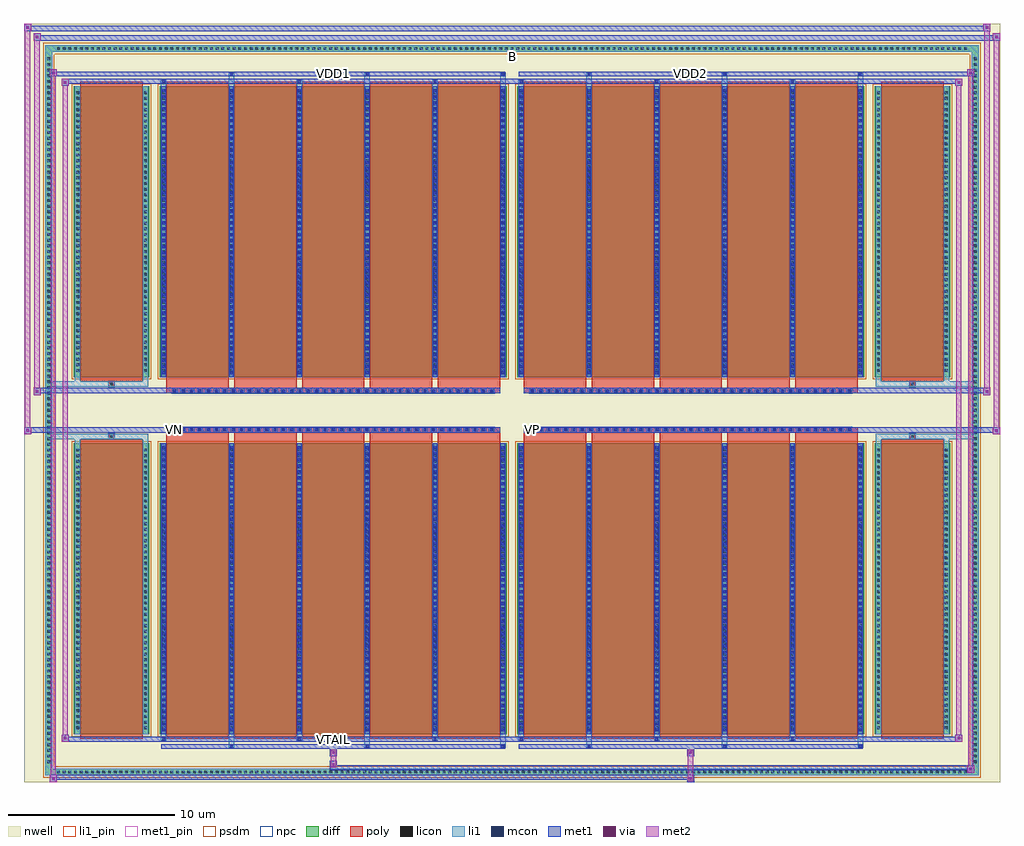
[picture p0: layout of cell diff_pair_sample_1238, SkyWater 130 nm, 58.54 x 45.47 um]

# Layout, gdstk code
import gdstk
lib = gdstk.Library(unit=1e-6, precision=5e-09)
def R(c, l, rs):  # rectangles x0, y0, x1, y1
    for r in rs: c.add(gdstk.rectangle(r[:2], r[2:], *l))
def A(c, l, x, y, w, h, nx, ny, dx, dy):  # array of equal rectangles
    R(c, l, [(x+i*dx, y+j*dy, x+i*dx+w, y+j*dy+h) for i in range(nx) for j in range(ny)])
def P(c, l, *ps):  # polygons
    for p in ps: c.add(gdstk.Polygon(p, *l))
nwell = (64, 20)
diff = (65, 20)
poly = (66, 20)
licon = (66, 44)
li1_pin = (67, 16)
li1 = (67, 20)
mcon = (67, 44)
met1_pin = (68, 16)
met1 = (68, 20)
via = (68, 44)
met2 = (69, 20)
psdm = (94, 20)
npc = (95, 20)

diff_pair_sample_1238 = lib.new_cell('diff_pair_sample_1238')
R(diff_pair_sample_1238, nwell, [(-29.27,-22.3,29.27,23.17), (-26.59,-20.49,-0.01,-0.805), (0.01,-20.49,26.59,-0.805), (-26.59,0.805,-0.01,20.49), (0.01,0.805,26.59,20.49)])
A(diff_pair_sample_1238, diff, -27.405, -21.9, 0.41, 0.41, 161, 2, 0.34, 43.39)
A(diff_pair_sample_1238, diff, -28, -21.285, 0.41, 0.41, 1, 125, 0, 0.34)
A(diff_pair_sample_1238, diff, 27.59, -21.285, 0.41, 0.41, 1, 125, 0, 0.34)
R(diff_pair_sample_1238, diff, [(-27.405,-21.9,27.405,-21.49), (-28,-21.285,-27.59,21.285), (27.59,-21.285,28,21.285), (-26.28,-19.445,-21.76,-1.985), (-21.12,-19.445,-0.32,-1.985), (0.32,-19.445,21.12,-1.985), (21.76,-19.445,26.28,-1.985), (-26.28,1.985,-21.76,19.445), (-21.12,1.985,-0.32,19.445), (0.32,1.985,21.12,19.445), (21.76,1.985,26.28,19.445), (-27.405,21.49,27.405,21.9)])
P(diff_pair_sample_1238, diff, [(28,21.9),(-28,21.9),(-28,-21.49),(-27.59,-21.49),(-27.59,21.49),(27.59,21.49),(27.59,-21.49),(-27.59,-21.49),(-28,-21.49),(-28,-21.9),(28,-21.9)])
A(diff_pair_sample_1238, poly, -20.73, -19.695, 3.74, 17.96, 5, 2, 4.07, 21.43)
A(diff_pair_sample_1238, poly, 0.71, -19.695, 3.74, 17.96, 5, 2, 4.07, 21.43)
A(diff_pair_sample_1238, poly, -20.73, -1.735, 3.74, 0.4, 5, 2, 4.07, 3.07)
A(diff_pair_sample_1238, poly, 0.71, -1.735, 3.74, 0.4, 5, 2, 4.07, 3.07)
A(diff_pair_sample_1238, poly, -20.385, -1.335, 0.33, 0.33, 39, 2, 0.5, 2.34)
A(diff_pair_sample_1238, poly, 1.055, -1.335, 0.33, 0.33, 39, 2, 0.5, 2.34)
R(diff_pair_sample_1238, poly, [(-25.89,-19.695,-22.15,-1.735), (22.15,-19.695,25.89,-1.735), (-24.185,-1.735,-23.855,-1.405), (-24.185,-1.735,-23.855,-1.405), (23.855,-1.735,24.185,-1.405), (23.855,-1.735,24.185,-1.405), (-20.73,-1.335,-0.71,-1.005), (0.71,-1.335,20.73,-1.005), (-20.73,1.005,-0.71,1.335), (0.71,1.005,20.73,1.335), (-24.185,1.405,-23.855,1.735), (-24.185,1.405,-23.855,1.735), (23.855,1.405,24.185,1.735), (23.855,1.405,24.185,1.735), (-25.89,1.735,-22.15,19.695), (22.15,1.735,25.89,19.695)])
A(diff_pair_sample_1238, licon, -27.285, -21.78, 0.17, 0.17, 161, 2, 0.34, 43.39)
A(diff_pair_sample_1238, licon, -27.88, -21.165, 0.17, 0.17, 1, 125, 0, 0.34)
A(diff_pair_sample_1238, licon, 27.71, -21.165, 0.17, 0.17, 1, 125, 0, 0.34)
A(diff_pair_sample_1238, licon, -26.14, -19.13, 0.17, 0.17, 1, 50, 0, 0.34)
A(diff_pair_sample_1238, licon, -22.07, -19.13, 0.17, 0.17, 1, 50, 0, 0.34)
A(diff_pair_sample_1238, licon, -20.98, -19.13, 0.17, 0.17, 6, 50, 4.07, 0.34)
A(diff_pair_sample_1238, licon, 0.46, -19.13, 0.17, 0.17, 6, 50, 4.07, 0.34)
A(diff_pair_sample_1238, licon, 21.9, -19.13, 0.17, 0.17, 1, 50, 0, 0.34)
A(diff_pair_sample_1238, licon, 25.97, -19.13, 0.17, 0.17, 1, 50, 0, 0.34)
A(diff_pair_sample_1238, licon, -20.305, -1.255, 0.17, 0.17, 39, 2, 0.5, 2.34)
A(diff_pair_sample_1238, licon, 1.135, -1.255, 0.17, 0.17, 39, 2, 0.5, 2.34)
A(diff_pair_sample_1238, licon, -26.14, 2.3, 0.17, 0.17, 1, 50, 0, 0.34)
A(diff_pair_sample_1238, licon, -22.07, 2.3, 0.17, 0.17, 1, 50, 0, 0.34)
A(diff_pair_sample_1238, licon, -20.98, 2.3, 0.17, 0.17, 6, 50, 4.07, 0.34)
A(diff_pair_sample_1238, licon, 0.46, 2.3, 0.17, 0.17, 6, 50, 4.07, 0.34)
A(diff_pair_sample_1238, licon, 21.9, 2.3, 0.17, 0.17, 1, 50, 0, 0.34)
A(diff_pair_sample_1238, licon, 25.97, 2.3, 0.17, 0.17, 1, 50, 0, 0.34)
R(diff_pair_sample_1238, licon, [(-24.105,-1.655,-23.935,-1.485), (23.935,-1.655,24.105,-1.485), (-24.105,1.485,-23.935,1.655), (23.935,1.485,24.105,1.655)])
R(diff_pair_sample_1238, li1_pin, [(-0.25,20.99,0.25,21.49)])
A(diff_pair_sample_1238, li1, -27.365, -21.86, 0.33, 0.33, 161, 2, 0.34, 43.39)
A(diff_pair_sample_1238, li1, -27.96, -21.245, 0.33, 0.33, 1, 125, 0, 0.34)
A(diff_pair_sample_1238, li1, 27.63, -21.245, 0.33, 0.33, 1, 125, 0, 0.34)
A(diff_pair_sample_1238, li1, -16.99, -20.25, 0.33, 0.805, 3, 2, 8.14, 39.695)
A(diff_pair_sample_1238, li1, -16.91, -20.25, 0.17, 0.17, 3, 2, 8.14, 40.33)
A(diff_pair_sample_1238, li1, 4.45, -20.25, 0.33, 0.805, 3, 2, 8.14, 39.695)
A(diff_pair_sample_1238, li1, 4.53, -20.25, 0.17, 0.17, 3, 2, 8.14, 40.33)
A(diff_pair_sample_1238, li1, -21.06, -19.82, 0.33, 0.375, 3, 2, 8.14, 39.265)
A(diff_pair_sample_1238, li1, -20.98, -19.82, 0.17, 0.17, 3, 2, 8.14, 39.47)
A(diff_pair_sample_1238, li1, 0.38, -19.82, 0.33, 0.375, 3, 2, 8.14, 39.265)
A(diff_pair_sample_1238, li1, 0.46, -19.82, 0.17, 0.17, 3, 2, 8.14, 39.47)
A(diff_pair_sample_1238, li1, -21.06, -19.445, 0.33, 17.46, 6, 2, 4.07, 21.43)
A(diff_pair_sample_1238, li1, 0.38, -19.445, 0.33, 17.46, 6, 2, 4.07, 21.43)
A(diff_pair_sample_1238, li1, -20.98, -19.26, 0.17, 0.17, 6, 48, 4.07, 0.36)
A(diff_pair_sample_1238, li1, -20.98, -19.26, 0.17, 17.09, 6, 2, 4.07, 21.43)
A(diff_pair_sample_1238, li1, 0.46, -19.26, 0.17, 0.17, 6, 48, 4.07, 0.36)
A(diff_pair_sample_1238, li1, 0.46, -19.26, 0.17, 17.09, 6, 2, 4.07, 21.43)
A(diff_pair_sample_1238, li1, -26.22, -19.21, 0.33, 0.33, 1, 50, 0, 0.34)
A(diff_pair_sample_1238, li1, -22.15, -19.21, 0.33, 0.33, 1, 50, 0, 0.34)
A(diff_pair_sample_1238, li1, -21.06, -19.21, 0.33, 0.33, 6, 50, 4.07, 0.34)
A(diff_pair_sample_1238, li1, 0.38, -19.21, 0.33, 0.33, 6, 50, 4.07, 0.34)
A(diff_pair_sample_1238, li1, 21.82, -19.21, 0.33, 0.33, 1, 50, 0, 0.34)
A(diff_pair_sample_1238, li1, 25.89, -19.21, 0.33, 0.33, 1, 50, 0, 0.34)
A(diff_pair_sample_1238, li1, -20.385, -1.335, 0.33, 0.33, 39, 2, 0.5, 2.34)
A(diff_pair_sample_1238, li1, 1.055, -1.335, 0.33, 0.33, 39, 2, 0.5, 2.34)
A(diff_pair_sample_1238, li1, -20.98, 2.17, 0.17, 0.17, 6, 48, 4.07, 0.36)
A(diff_pair_sample_1238, li1, 0.46, 2.17, 0.17, 0.17, 6, 48, 4.07, 0.36)
A(diff_pair_sample_1238, li1, -26.22, 2.22, 0.33, 0.33, 1, 50, 0, 0.34)
A(diff_pair_sample_1238, li1, -22.15, 2.22, 0.33, 0.33, 1, 50, 0, 0.34)
A(diff_pair_sample_1238, li1, -21.06, 2.22, 0.33, 0.33, 6, 50, 4.07, 0.34)
A(diff_pair_sample_1238, li1, 0.38, 2.22, 0.33, 0.33, 6, 50, 4.07, 0.34)
A(diff_pair_sample_1238, li1, 21.82, 2.22, 0.33, 0.33, 1, 50, 0, 0.34)
A(diff_pair_sample_1238, li1, 25.89, 2.22, 0.33, 0.33, 1, 50, 0, 0.34)
R(diff_pair_sample_1238, li1, [(-28,-21.9,-27.59,-21.49), (-28,-21.9,-27.59,-21.49), (-27.59,-21.9,27.59,-21.49), (27.59,-21.9,28,-21.49), (27.59,-21.9,28,-21.49), (-28,-21.49,-27.59,21.49), (27.59,-21.49,28,21.49), (-26.22,-19.445,-25.89,-1.985), (-22.15,-19.445,-21.82,-1.985), (21.82,-19.445,22.15,-1.985), (25.89,-19.445,26.22,-1.985), (-26.22,-1.985,-25.89,-1.405), (-22.15,-1.985,-21.82,-1.405), (21.82,-1.985,22.15,-1.405), (25.89,-1.985,26.22,-1.405), (-28,-1.735,-24.185,-1.405), (-26.22,-1.735,-24.185,-1.405), (-24.185,-1.735,-23.855,-1.405), (-23.855,-1.735,-21.82,-1.405), (21.82,-1.735,23.855,-1.405), (23.855,-1.735,24.185,-1.405), (23.855,-1.735,28,-1.405), (24.185,-1.735,26.22,-1.405), (-28,1.405,-24.185,1.735), (-26.22,1.405,-24.185,1.735), (-26.22,1.405,-25.89,1.985), (-24.185,1.405,-23.855,1.735), (-23.855,1.405,-21.82,1.735), (-22.15,1.405,-21.82,1.985), (21.82,1.405,23.855,1.735), (21.82,1.405,22.15,1.985), (23.855,1.405,24.185,1.735), (23.855,1.405,28,1.735), (24.185,1.405,26.22,1.735), (25.89,1.405,26.22,1.985), (-26.22,1.985,-25.89,19.445), (-22.15,1.985,-21.82,19.445), (21.82,1.985,22.15,19.445), (25.89,1.985,26.22,19.445), (-28,21.49,-27.59,21.9), (-28,21.49,-27.59,21.9), (-27.59,21.49,27.59,21.9), (27.59,21.49,28,21.9), (27.59,21.49,28,21.9)])
A(diff_pair_sample_1238, mcon, -16.91, -20.25, 0.17, 0.17, 3, 2, 8.14, 40.33)
A(diff_pair_sample_1238, mcon, 4.53, -20.25, 0.17, 0.17, 3, 2, 8.14, 40.33)
A(diff_pair_sample_1238, mcon, -20.98, -19.82, 0.17, 0.17, 3, 2, 8.14, 39.47)
A(diff_pair_sample_1238, mcon, 0.46, -19.82, 0.17, 0.17, 3, 2, 8.14, 39.47)
A(diff_pair_sample_1238, mcon, -20.98, -19.26, 0.17, 0.17, 6, 48, 4.07, 0.36)
A(diff_pair_sample_1238, mcon, 0.46, -19.26, 0.17, 0.17, 6, 48, 4.07, 0.36)
A(diff_pair_sample_1238, mcon, -20.305, -1.255, 0.17, 0.17, 39, 2, 0.5, 2.34)
A(diff_pair_sample_1238, mcon, 1.135, -1.255, 0.17, 0.17, 39, 2, 0.5, 2.34)
A(diff_pair_sample_1238, mcon, -20.98, 2.17, 0.17, 0.17, 6, 48, 4.07, 0.36)
A(diff_pair_sample_1238, mcon, 0.46, 2.17, 0.17, 0.17, 6, 48, 4.07, 0.36)
R(diff_pair_sample_1238, met1_pin, [(-10.855,-19.86,-10.585,-19.59), (-20.355,-1.295,-20.085,-1.025), (1.085,-1.295,1.355,-1.025), (-10.855,20.04,-10.585,20.31), (10.585,20.04,10.855,20.31)])
A(diff_pair_sample_1238, met1, -16.97, -20.31, 0.29, 0.29, 3, 2, 8.14, 40.33)
A(diff_pair_sample_1238, met1, 4.47, -20.31, 0.29, 0.29, 3, 2, 8.14, 40.33)
A(diff_pair_sample_1238, met1, -21.04, -19.88, 0.29, 0.29, 3, 2, 8.14, 39.47)
A(diff_pair_sample_1238, met1, 0.4, -19.88, 0.29, 0.29, 3, 2, 8.14, 39.47)
A(diff_pair_sample_1238, met1, -21.04, -19.445, 0.29, 17.46, 6, 2, 4.07, 21.43)
A(diff_pair_sample_1238, met1, 0.4, -19.445, 0.29, 17.46, 6, 2, 4.07, 21.43)
A(diff_pair_sample_1238, met1, -21.04, -19.32, 0.29, 0.29, 6, 48, 4.07, 0.36)
A(diff_pair_sample_1238, met1, 0.4, -19.32, 0.29, 0.29, 6, 48, 4.07, 0.36)
A(diff_pair_sample_1238, met1, -20.365, -1.315, 0.29, 0.29, 39, 2, 0.5, 2.34)
A(diff_pair_sample_1238, met1, 1.075, -1.315, 0.29, 0.29, 39, 2, 0.5, 2.34)
A(diff_pair_sample_1238, met1, -21.04, 2.11, 0.29, 0.29, 6, 48, 4.07, 0.36)
A(diff_pair_sample_1238, met1, 0.4, 2.11, 0.29, 0.29, 6, 48, 4.07, 0.36)
R(diff_pair_sample_1238, met1, [(-27.73,-22.3,-27.3,-21.87), (10.505,-22.3,10.935,-21.87), (-27.73,-22.16,10.935,-21.87), (27.3,-21.73,27.73,-21.3), (-10.935,-21.59,27.73,-21.3), (-10.935,-21.45,-10.505,-21.02), (-10.935,-20.74,-10.505,-20.31), (10.505,-20.74,10.935,-20.31), (-21.04,-20.31,-0.4,-20.02), (0.4,-20.31,21.04,-20.02), (-27.02,-19.88,-26.59,-19.45), (-27.02,-19.88,-21.04,-19.59), (-21.04,-19.88,-0.4,-19.59), (-0.4,-19.88,0.4,-19.59), (0.4,-19.88,21.04,-19.59), (21.04,-19.88,27.02,-19.59), (26.59,-19.88,27.02,-19.45), (-29.27,-1.435,-28.84,-1.005), (28.84,-1.435,29.27,-1.005), (-29.27,-1.335,-0.71,-1.005), (-20.73,-1.335,-0.71,-1.005), (0.71,-1.335,20.73,-1.005), (0.71,-1.335,29.27,-1.005), (-28.7,0.905,-28.27,1.335), (28.27,0.905,28.7,1.335), (-28.7,1.005,-20.73,1.335), (-20.73,1.005,-0.71,1.335), (0.71,1.005,20.73,1.335), (20.73,1.005,28.7,1.335), (-27.02,19.45,-26.59,19.88), (26.59,19.45,27.02,19.88), (-27.02,19.59,-21.04,19.88), (-21.04,19.59,-0.4,19.88), (-0.4,19.59,0.4,19.88), (0.4,19.59,21.04,19.88), (21.04,19.59,27.02,19.88), (-27.73,20.02,-27.3,20.45), (-27.73,20.02,-21.04,20.31), (-21.04,20.02,-0.4,20.31), (0.4,20.02,21.04,20.31), (21.04,20.02,27.73,20.31), (27.3,20.02,27.73,20.45), (-28.7,22.17,-28.27,22.6), (-28.7,22.17,-26.59,22.5), (-26.59,22.17,26.59,22.5), (26.59,22.17,29.27,22.5), (28.84,22.17,29.27,22.6), (-29.27,22.74,-28.84,23.17), (-29.27,22.74,-26.59,23.07), (-26.59,22.74,26.59,23.07), (26.59,22.74,28.7,23.07), (28.27,22.74,28.7,23.17)])
R(diff_pair_sample_1238, via, [(-27.59,-22.16,-27.44,-22.01), (10.645,-22.16,10.795,-22.01), (27.44,-21.59,27.59,-21.44), (-10.795,-21.31,-10.645,-21.16), (-10.795,-20.6,-10.645,-20.45), (10.645,-20.6,10.795,-20.45), (-26.88,-19.74,-26.73,-19.59), (26.73,-19.74,26.88,-19.59), (-29.13,-1.295,-28.98,-1.145), (28.98,-1.295,29.13,-1.145), (-28.56,1.045,-28.41,1.195), (28.41,1.045,28.56,1.195), (-26.88,19.59,-26.73,19.74), (26.73,19.59,26.88,19.74), (-27.59,20.16,-27.44,20.31), (27.44,20.16,27.59,20.31), (-28.56,22.31,-28.41,22.46), (28.98,22.31,29.13,22.46), (-29.13,22.88,-28.98,23.03), (28.41,22.88,28.56,23.03)])
R(diff_pair_sample_1238, met2, [(-27.73,-22.3,-27.3,-21.87), (-27.66,-22.3,-27.37,20.45), (-27.37,-22.3,-27.3,-21.87), (-27.68,-22.25,-27.35,-21.92), (10.555,-22.25,10.885,-21.92), (10.555,-21.92,10.885,-20.69), (27.3,-21.73,27.73,-21.3), (27.37,-21.73,27.66,20.45), (27.66,-21.73,27.73,-21.3), (27.35,-21.68,27.68,-21.35), (-10.885,-21.4,-10.555,-21.07), (-10.885,-21.07,-10.555,-20.69), (-10.885,-20.69,-10.555,-20.36), (10.555,-20.69,10.885,-20.36), (-27.02,-19.88,-26.59,-19.45), (-26.95,-19.88,-26.66,19.88), (-26.66,-19.88,-26.59,-19.45), (26.59,-19.88,27.02,-19.45), (26.66,-19.88,26.95,19.88), (26.95,-19.88,27.02,-19.45), (-26.97,-19.83,-26.64,-19.5), (26.64,-19.83,26.97,-19.5), (-29.27,-1.435,-28.84,-1.005), (-29.22,-1.435,-28.89,23.17), (-28.89,-1.435,-28.84,-1.005), (28.84,-1.435,29.27,-1.005), (28.89,-1.435,29.22,22.6), (29.22,-1.435,29.27,-1.005), (-29.22,-1.385,-28.89,-1.055), (28.89,-1.385,29.22,-1.055), (-28.7,0.905,-28.27,1.335), (-28.65,0.905,-28.32,22.6), (-28.32,0.905,-28.27,1.335), (28.27,0.905,28.7,1.335), (28.32,0.905,28.65,23.17), (28.65,0.905,28.7,1.335), (-28.65,0.955,-28.32,1.285), (28.32,0.955,28.65,1.285), (-27.02,19.45,-26.59,19.88), (-26.66,19.45,-26.59,19.88), (26.59,19.45,27.02,19.88), (26.95,19.45,27.02,19.88), (-26.97,19.5,-26.64,19.83), (26.64,19.5,26.97,19.83), (-27.73,20.02,-27.3,20.45), (-27.37,20.02,-27.3,20.45), (27.3,20.02,27.73,20.45), (27.66,20.02,27.73,20.45), (-27.68,20.07,-27.35,20.4), (27.35,20.07,27.68,20.4), (-28.7,22.17,-28.27,22.6), (-28.32,22.17,-28.27,22.6), (28.84,22.17,29.27,22.6), (29.22,22.17,29.27,22.6), (-28.65,22.22,-28.32,22.55), (28.89,22.22,29.22,22.55), (-29.27,22.74,-28.84,23.17), (-28.89,22.74,-28.84,23.17), (28.27,22.74,28.7,23.17), (28.65,22.74,28.7,23.17), (-29.22,22.79,-28.89,23.12), (28.32,22.79,28.65,23.12)])
R(diff_pair_sample_1238, psdm, [(-26.41,-19.575,-21.63,-1.855), (-21.25,-19.575,-0.19,-1.855), (0.19,-19.575,21.25,-1.855), (21.63,-19.575,26.41,-1.855), (-26.41,1.855,-21.63,19.575), (-21.25,1.855,-0.19,19.575), (0.19,1.855,21.25,19.575), (21.63,1.855,26.41,19.575)])
P(diff_pair_sample_1238, psdm, [(28.13,22.03),(-28.13,22.03),(-28.13,-21.36),(-27.46,-21.36),(-27.46,21.36),(27.46,21.36),(27.46,-21.36),(-27.46,-21.36),(-28.13,-21.36),(-28.13,-22.03),(28.13,-22.03)])
A(diff_pair_sample_1238, npc, -20.405, -1.355, 0.37, 0.37, 39, 2, 0.5, 2.34)
A(diff_pair_sample_1238, npc, 1.035, -1.355, 0.37, 0.37, 39, 2, 0.5, 2.34)
R(diff_pair_sample_1238, npc, [(-24.205,-1.755,-23.835,-1.385), (23.835,-1.755,24.205,-1.385), (-20.405,-1.355,-19.535,-0.985), (-20.405,-1.355,-19.535,-0.985), (-19.905,-1.355,-19.035,-0.985), (-19.905,-1.355,-19.035,-0.985), (-19.405,-1.355,-18.535,-0.985), (-19.405,-1.355,-18.535,-0.985), (-18.905,-1.355,-18.035,-0.985), (-18.905,-1.355,-18.035,-0.985), (-18.405,-1.355,-17.535,-0.985), (-18.405,-1.355,-17.535,-0.985), (-17.905,-1.355,-17.035,-0.985), (-17.905,-1.355,-17.035,-0.985), (-17.405,-1.355,-16.535,-0.985), (-17.405,-1.355,-16.535,-0.985), (-16.905,-1.355,-16.035,-0.985), (-16.905,-1.355,-16.035,-0.985), (-16.405,-1.355,-15.535,-0.985), (-16.405,-1.355,-15.535,-0.985), (-15.905,-1.355,-15.035,-0.985), (-15.905,-1.355,-15.035,-0.985), (-15.405,-1.355,-14.535,-0.985), (-15.405,-1.355,-14.535,-0.985), (-14.905,-1.355,-14.035,-0.985), (-14.905,-1.355,-14.035,-0.985), (-14.405,-1.355,-13.535,-0.985), (-14.405,-1.355,-13.535,-0.985), (-13.905,-1.355,-13.035,-0.985), (-13.905,-1.355,-13.035,-0.985), (-13.405,-1.355,-12.535,-0.985), (-13.405,-1.355,-12.535,-0.985), (-12.905,-1.355,-12.035,-0.985), (-12.905,-1.355,-12.035,-0.985), (-12.405,-1.355,-11.535,-0.985), (-12.405,-1.355,-11.535,-0.985), (-11.905,-1.355,-11.035,-0.985), (-11.905,-1.355,-11.035,-0.985), (-11.405,-1.355,-10.535,-0.985), (-11.405,-1.355,-10.535,-0.985), (-10.905,-1.355,-10.035,-0.985), (-10.905,-1.355,-10.035,-0.985), (-10.405,-1.355,-9.535,-0.985), (-10.405,-1.355,-9.535,-0.985), (-9.905,-1.355,-9.035,-0.985), (-9.905,-1.355,-9.035,-0.985), (-9.405,-1.355,-8.535,-0.985), (-9.405,-1.355,-8.535,-0.985), (-8.905,-1.355,-8.035,-0.985), (-8.905,-1.355,-8.035,-0.985), (-8.405,-1.355,-7.535,-0.985), (-8.405,-1.355,-7.535,-0.985), (-7.905,-1.355,-7.035,-0.985), (-7.905,-1.355,-7.035,-0.985), (-7.405,-1.355,-6.535,-0.985), (-7.405,-1.355,-6.535,-0.985), (-6.905,-1.355,-6.035,-0.985), (-6.905,-1.355,-6.035,-0.985), (-6.405,-1.355,-5.535,-0.985), (-6.405,-1.355,-5.535,-0.985), (-5.905,-1.355,-5.035,-0.985), (-5.905,-1.355,-5.035,-0.985), (-5.405,-1.355,-4.535,-0.985), (-5.405,-1.355,-4.535,-0.985), (-4.905,-1.355,-4.035,-0.985), (-4.905,-1.355,-4.035,-0.985), (-4.405,-1.355,-3.535,-0.985), (-4.405,-1.355,-3.535,-0.985), (-3.905,-1.355,-3.035,-0.985), (-3.905,-1.355,-3.035,-0.985), (-3.405,-1.355,-2.535,-0.985), (-3.405,-1.355,-2.535,-0.985), (-2.905,-1.355,-2.035,-0.985), (-2.905,-1.355,-2.035,-0.985), (-2.405,-1.355,-1.535,-0.985), (-2.405,-1.355,-1.535,-0.985), (-1.905,-1.355,-1.035,-0.985), (-1.905,-1.355,-1.035,-0.985), (1.035,-1.355,1.905,-0.985), (1.035,-1.355,1.905,-0.985), (1.535,-1.355,2.405,-0.985), (1.535,-1.355,2.405,-0.985), (2.035,-1.355,2.905,-0.985), (2.035,-1.355,2.905,-0.985), (2.535,-1.355,3.405,-0.985), (2.535,-1.355,3.405,-0.985), (3.035,-1.355,3.905,-0.985), (3.035,-1.355,3.905,-0.985), (3.535,-1.355,4.405,-0.985), (3.535,-1.355,4.405,-0.985), (4.035,-1.355,4.905,-0.985), (4.035,-1.355,4.905,-0.985), (4.535,-1.355,5.405,-0.985), (4.535,-1.355,5.405,-0.985), (5.035,-1.355,5.905,-0.985), (5.035,-1.355,5.905,-0.985), (5.535,-1.355,6.405,-0.985), (5.535,-1.355,6.405,-0.985), (6.035,-1.355,6.905,-0.985), (6.035,-1.355,6.905,-0.985), (6.535,-1.355,7.405,-0.985), (6.535,-1.355,7.405,-0.985), (7.035,-1.355,7.905,-0.985), (7.035,-1.355,7.905,-0.985), (7.535,-1.355,8.405,-0.985), (7.535,-1.355,8.405,-0.985), (8.035,-1.355,8.905,-0.985), (8.035,-1.355,8.905,-0.985), (8.535,-1.355,9.405,-0.985), (8.535,-1.355,9.405,-0.985), (9.035,-1.355,9.905,-0.985), (9.035,-1.355,9.905,-0.985), (9.535,-1.355,10.405,-0.985), (9.535,-1.355,10.405,-0.985), (10.035,-1.355,10.905,-0.985), (10.035,-1.355,10.905,-0.985), (10.535,-1.355,11.405,-0.985), (10.535,-1.355,11.405,-0.985), (11.035,-1.355,11.905,-0.985), (11.035,-1.355,11.905,-0.985), (11.535,-1.355,12.405,-0.985), (11.535,-1.355,12.405,-0.985), (12.035,-1.355,12.905,-0.985), (12.035,-1.355,12.905,-0.985), (12.535,-1.355,13.405,-0.985), (12.535,-1.355,13.405,-0.985), (13.035,-1.355,13.905,-0.985), (13.035,-1.355,13.905,-0.985), (13.535,-1.355,14.405,-0.985), (13.535,-1.355,14.405,-0.985), (14.035,-1.355,14.905,-0.985), (14.035,-1.355,14.905,-0.985), (14.535,-1.355,15.405,-0.985), (14.535,-1.355,15.405,-0.985), (15.035,-1.355,15.905,-0.985), (15.035,-1.355,15.905,-0.985), (15.535,-1.355,16.405,-0.985), (15.535,-1.355,16.405,-0.985), (16.035,-1.355,16.905,-0.985), (16.035,-1.355,16.905,-0.985), (16.535,-1.355,17.405,-0.985), (16.535,-1.355,17.405,-0.985), (17.035,-1.355,17.905,-0.985), (17.035,-1.355,17.905,-0.985), (17.535,-1.355,18.405,-0.985), (17.535,-1.355,18.405,-0.985), (18.035,-1.355,18.905,-0.985), (18.035,-1.355,18.905,-0.985), (18.535,-1.355,19.405,-0.985), (18.535,-1.355,19.405,-0.985), (19.035,-1.355,19.905,-0.985), (19.035,-1.355,19.905,-0.985), (19.535,-1.355,20.405,-0.985), (19.535,-1.355,20.405,-0.985), (-20.405,0.985,-19.535,1.355), (-20.405,0.985,-19.535,1.355), (-19.905,0.985,-19.035,1.355), (-19.905,0.985,-19.035,1.355), (-19.405,0.985,-18.535,1.355), (-19.405,0.985,-18.535,1.355), (-18.905,0.985,-18.035,1.355), (-18.905,0.985,-18.035,1.355), (-18.405,0.985,-17.535,1.355), (-18.405,0.985,-17.535,1.355), (-17.905,0.985,-17.035,1.355), (-17.905,0.985,-17.035,1.355), (-17.405,0.985,-16.535,1.355), (-17.405,0.985,-16.535,1.355), (-16.905,0.985,-16.035,1.355), (-16.905,0.985,-16.035,1.355), (-16.405,0.985,-15.535,1.355), (-16.405,0.985,-15.535,1.355), (-15.905,0.985,-15.035,1.355), (-15.905,0.985,-15.035,1.355), (-15.405,0.985,-14.535,1.355), (-15.405,0.985,-14.535,1.355), (-14.905,0.985,-14.035,1.355), (-14.905,0.985,-14.035,1.355), (-14.405,0.985,-13.535,1.355), (-14.405,0.985,-13.535,1.355), (-13.905,0.985,-13.035,1.355), (-13.905,0.985,-13.035,1.355), (-13.405,0.985,-12.535,1.355), (-13.405,0.985,-12.535,1.355), (-12.905,0.985,-12.035,1.355), (-12.905,0.985,-12.035,1.355), (-12.405,0.985,-11.535,1.355), (-12.405,0.985,-11.535,1.355), (-11.905,0.985,-11.035,1.355), (-11.905,0.985,-11.035,1.355), (-11.405,0.985,-10.535,1.355), (-11.405,0.985,-10.535,1.355), (-10.905,0.985,-10.035,1.355), (-10.905,0.985,-10.035,1.355), (-10.405,0.985,-9.535,1.355), (-10.405,0.985,-9.535,1.355), (-9.905,0.985,-9.035,1.355), (-9.905,0.985,-9.035,1.355), (-9.405,0.985,-8.535,1.355), (-9.405,0.985,-8.535,1.355), (-8.905,0.985,-8.035,1.355), (-8.905,0.985,-8.035,1.355), (-8.405,0.985,-7.535,1.355), (-8.405,0.985,-7.535,1.355), (-7.905,0.985,-7.035,1.355), (-7.905,0.985,-7.035,1.355), (-7.405,0.985,-6.535,1.355), (-7.405,0.985,-6.535,1.355), (-6.905,0.985,-6.035,1.355), (-6.905,0.985,-6.035,1.355), (-6.405,0.985,-5.535,1.355), (-6.405,0.985,-5.535,1.355), (-5.905,0.985,-5.035,1.355), (-5.905,0.985,-5.035,1.355), (-5.405,0.985,-4.535,1.355), (-5.405,0.985,-4.535,1.355), (-4.905,0.985,-4.035,1.355), (-4.905,0.985,-4.035,1.355), (-4.405,0.985,-3.535,1.355), (-4.405,0.985,-3.535,1.355), (-3.905,0.985,-3.035,1.355), (-3.905,0.985,-3.035,1.355), (-3.405,0.985,-2.535,1.355), (-3.405,0.985,-2.535,1.355), (-2.905,0.985,-2.035,1.355), (-2.905,0.985,-2.035,1.355), (-2.405,0.985,-1.535,1.355), (-2.405,0.985,-1.535,1.355), (-1.905,0.985,-1.035,1.355), (-1.905,0.985,-1.035,1.355), (1.035,0.985,1.905,1.355), (1.035,0.985,1.905,1.355), (1.535,0.985,2.405,1.355), (1.535,0.985,2.405,1.355), (2.035,0.985,2.905,1.355), (2.035,0.985,2.905,1.355), (2.535,0.985,3.405,1.355), (2.535,0.985,3.405,1.355), (3.035,0.985,3.905,1.355), (3.035,0.985,3.905,1.355), (3.535,0.985,4.405,1.355), (3.535,0.985,4.405,1.355), (4.035,0.985,4.905,1.355), (4.035,0.985,4.905,1.355), (4.535,0.985,5.405,1.355), (4.535,0.985,5.405,1.355), (5.035,0.985,5.905,1.355), (5.035,0.985,5.905,1.355), (5.535,0.985,6.405,1.355), (5.535,0.985,6.405,1.355), (6.035,0.985,6.905,1.355), (6.035,0.985,6.905,1.355), (6.535,0.985,7.405,1.355), (6.535,0.985,7.405,1.355), (7.035,0.985,7.905,1.355), (7.035,0.985,7.905,1.355), (7.535,0.985,8.405,1.355), (7.535,0.985,8.405,1.355), (8.035,0.985,8.905,1.355), (8.035,0.985,8.905,1.355), (8.535,0.985,9.405,1.355), (8.535,0.985,9.405,1.355), (9.035,0.985,9.905,1.355), (9.035,0.985,9.905,1.355), (9.535,0.985,10.405,1.355), (9.535,0.985,10.405,1.355), (10.035,0.985,10.905,1.355), (10.035,0.985,10.905,1.355), (10.535,0.985,11.405,1.355), (10.535,0.985,11.405,1.355), (11.035,0.985,11.905,1.355), (11.035,0.985,11.905,1.355), (11.535,0.985,12.405,1.355), (11.535,0.985,12.405,1.355), (12.035,0.985,12.905,1.355), (12.035,0.985,12.905,1.355), (12.535,0.985,13.405,1.355), (12.535,0.985,13.405,1.355), (13.035,0.985,13.905,1.355), (13.035,0.985,13.905,1.355), (13.535,0.985,14.405,1.355), (13.535,0.985,14.405,1.355), (14.035,0.985,14.905,1.355), (14.035,0.985,14.905,1.355), (14.535,0.985,15.405,1.355), (14.535,0.985,15.405,1.355), (15.035,0.985,15.905,1.355), (15.035,0.985,15.905,1.355), (15.535,0.985,16.405,1.355), (15.535,0.985,16.405,1.355), (16.035,0.985,16.905,1.355), (16.035,0.985,16.905,1.355), (16.535,0.985,17.405,1.355), (16.535,0.985,17.405,1.355), (17.035,0.985,17.905,1.355), (17.035,0.985,17.905,1.355), (17.535,0.985,18.405,1.355), (17.535,0.985,18.405,1.355), (18.035,0.985,18.905,1.355), (18.035,0.985,18.905,1.355), (18.535,0.985,19.405,1.355), (18.535,0.985,19.405,1.355), (19.035,0.985,19.905,1.355), (19.035,0.985,19.905,1.355), (19.535,0.985,20.405,1.355), (19.535,0.985,20.405,1.355), (-24.205,1.385,-23.835,1.755), (23.835,1.385,24.205,1.755)])
diff_pair_sample_1238.add(gdstk.Label('VTAIL', (-10.72,-19.725), layer=68, texttype=5))
diff_pair_sample_1238.add(gdstk.Label('VN', (-20.22,-1.16), layer=68, texttype=5))
diff_pair_sample_1238.add(gdstk.Label('VP', (1.22,-1.16), layer=68, texttype=5))
diff_pair_sample_1238.add(gdstk.Label('B', (0,21.24), layer=67, texttype=5))
diff_pair_sample_1238.add(gdstk.Label('VDD2', (10.72,20.175), layer=68, texttype=5))
diff_pair_sample_1238.add(gdstk.Label('VDD1', (-10.72,20.175), layer=68, texttype=5))

lib.write_gds('diff_pair_sample_1238.gds')
